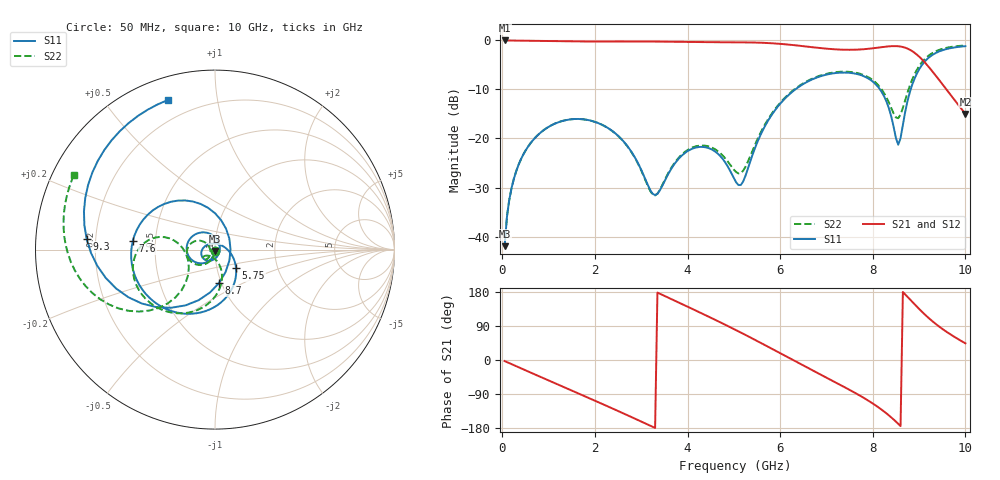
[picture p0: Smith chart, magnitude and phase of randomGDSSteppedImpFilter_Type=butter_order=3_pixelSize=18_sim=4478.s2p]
! freq	dB(S11)	phase(S11)	dB(S12)	phase(S12)
!  dB(S21)	phase(S21)	dB(S22)	phase(S22)
!S-par simulation data
#  GHz  S  DB  R 50
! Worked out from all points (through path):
!   200 points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, 50 MHz to 10 GHz, reference 50 ohm
!   highest |S21| = 0.00 dB at 50 MHz (marker M1); lowest = -15.0 dB at 10 GHz (marker M2)
!   group delay of S21, straight-line fit = 181 ps
!   lowest |S11| = -42.0 dB at 50 MHz (marker M3), VSWR 1.02, Z = 50 - j0.797 ohm
!   |S11| at or under -10 dB: start of sweep to 6.326 GHz; 8.156 GHz to 8.819 GHz (662.6 MHz wide, 7.81 % of centre)
!   |S22| runs from -41.9 to -1.0 dB; largest |S21 - S12| = 0
!   S11 on the Smith chart (normalised r, x): 50 MHz: 1.00, -0.02; 5.75 GHz: 1.24, -0.26; 7.6 GHz: 0.37, +0.04; 8.7 GHz: 0.98, -0.38; 9.3 GHz: 0.16, +0.04; 10 GHz: 0.10, +0.73
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0.05  -41.96 -92.0  -0.00 -2.8  -0.00 -2.8  -41.93 -91.4
0.2  -30.10 -101.3  -0.02 -10.9  -0.02 -10.9  -30.09 -99.8
0.5  -22.50 -119.4  -0.06 -27.2  -0.06 -27.2  -22.49 -115.6
1.15  -16.91 -157.2  -0.16 -62.0  -0.16 -62.0  -16.90 -147.9
1.75  -16.08 167.1  -0.22 -94.0  -0.22 -94.0  -16.08 -176.5
2.7  -21.53 101.4  -0.21 -145.6  -0.21 -145.6  -21.59 146.1
3.25  -31.30 9.1  -0.23 -176.4  -0.23 -176.4  -31.44 179.4
3.4  -30.62 -40.0  -0.24 175.1  -0.24 175.1  -30.52 -148.1
4.25  -21.73 -145.3  -0.34 126.3  -0.34 126.3  -21.47 -139.9
5.05  -28.95 108.8  -0.37 78.7  -0.37 78.7  -26.85 -127.5
5.2  -28.80 52.8  -0.38 69.4  -0.38 69.4  -26.59 -100.1
5.75  -16.19 -40.9  -0.54 34.2  -0.54 34.2  -15.92 -75.9
6.2  -10.98 -79.5  -0.87 4.7  -0.87 4.7  -10.82 -94.4
6.7  -7.92 -118.0  -1.39 -27.7  -1.39 -27.7  -7.77 -119.8
7.6  -6.73 174.2  -1.90 -85.5  -1.90 -85.5  -6.53 -165.9
8.35  -13.89 89.8  -1.20 -146.3  -1.20 -146.3  -12.71 167.5
8.55  -21.26 1.3  -1.19 -168.4  -1.19 -168.4  -15.86 -159.0
8.7  -14.56 -83.0  -1.48 173.2  -1.48 173.2  -12.17 -131.5
9  -5.91 -143.6  -3.29 134.8  -3.29 134.8  -5.26 -140.8
9.3  -2.88 175.3  -6.46 101.1  -6.46 101.1  -2.51 -164.3
9.6  -1.73 142.9  -10.11 73.8  -10.11 73.8  -1.48 175.0
10  -1.17 107.4  -14.99 44.0  -14.99 44.0  -1.02 152.3
